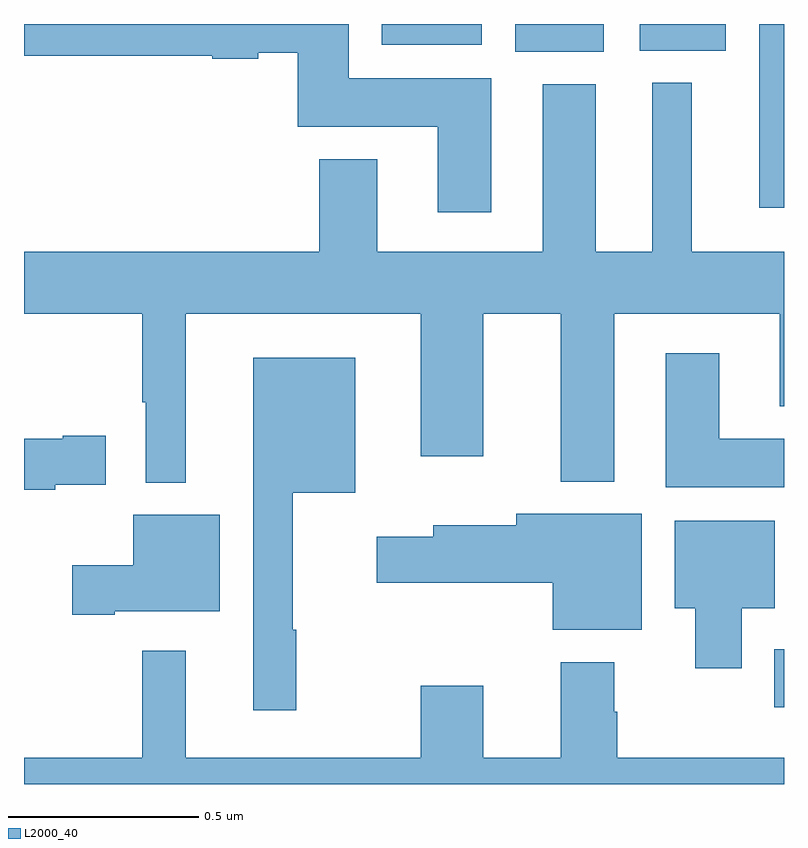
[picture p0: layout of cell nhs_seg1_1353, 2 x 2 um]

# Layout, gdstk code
import gdstk
lib = gdstk.Library(unit=1e-6, precision=1e-09)
def R(c, l, rs):  # rectangles x0, y0, x1, y1
    for r in rs: c.add(gdstk.rectangle(r[:2], r[2:], *l))
def P(c, l, *ps):  # polygons
    for p in ps: c.add(gdstk.Polygon(p, *l))
L2000_40 = (2000, 40)

nhs_seg1_1353 = lib.new_cell('nhs_seg1_1353')
R(nhs_seg1_1353, L2000_40, [(129.974,513.401,130,513.553), (129.935,514.715,130,515.199), (129.293,515.126,129.526,515.199), (129.62,515.129,129.847,515.199), (128.942,515.144,129.205,515.199)])
P(nhs_seg1_1353, L2000_40, [(129.229,515.056),(128.854,515.056),(128.854,515.199),(128,515.199),(128,515.116),(128.496,515.116),(128.496,515.108),(128.616,515.108),(128.616,515.123),(128.72,515.123),(128.72,514.928),(129.089,514.928),(129.089,514.704),(129.229,514.704)],
  [(128.425,514.436),(129.044,514.436),(129.044,514.062),(129.208,514.062),(129.208,514.436),(129.413,514.436),(129.413,513.995),(129.553,513.995),(129.553,514.436),(129.989,514.436),(129.989,514.193),(130,514.193),(130,514.6),(129.757,514.6),(129.757,515.044),(129.653,515.044),(129.653,514.6),(129.505,514.6),(129.505,515.041),(129.365,515.041),(129.365,514.6),(128.929,514.6),(128.929,514.843),(128.777,514.843),(128.777,514.6),(128,514.6),(128,514.436),(128.311,514.436),(128.311,514.204),(128.321,514.204),(128.321,513.992),(128.425,513.992)],
  [(130,514.108),(129.829,514.108),(129.829,514.333),(129.689,514.333),(129.689,513.98),(130,513.98)],
  [(128.717,513.605),(128.707,513.605),(128.707,513.965),(128.872,513.965),(128.872,514.321),(128.603,514.321),(128.603,513.393),(128.717,513.393)],
  [(128.082,513.986),(128.215,513.986),(128.215,514.116),(128.102,514.116),(128.102,514.108),(128,514.108),(128,513.974),(128.082,513.974)],
  [(129.625,513.91),(129.296,513.91),(129.296,513.88),(129.077,513.88),(129.077,513.85),(128.928,513.85),(128.928,513.728),(129.392,513.728),(129.392,513.605),(129.625,513.605)],
  [(128.239,513.653),(128.515,513.653),(128.515,513.907),(128.288,513.907),(128.288,513.775),(128.127,513.775),(128.127,513.645),(128.239,513.645)],
  [(129.889,513.662),(129.976,513.662),(129.976,513.892),(129.713,513.892),(129.713,513.662),(129.767,513.662),(129.767,513.504),(129.889,513.504)],
  [(130,513.268),(129.561,513.268),(129.561,513.389),(129.553,513.389),(129.553,513.52),(129.413,513.52),(129.413,513.268),(129.208,513.268),(129.208,513.457),(129.044,513.457),(129.044,513.268),(128.425,513.268),(128.425,513.55),(128.311,513.55),(128.311,513.268),(128,513.268),(128,513.199),(130,513.199)])

lib.write_gds('nhs_seg1_1353.gds')
